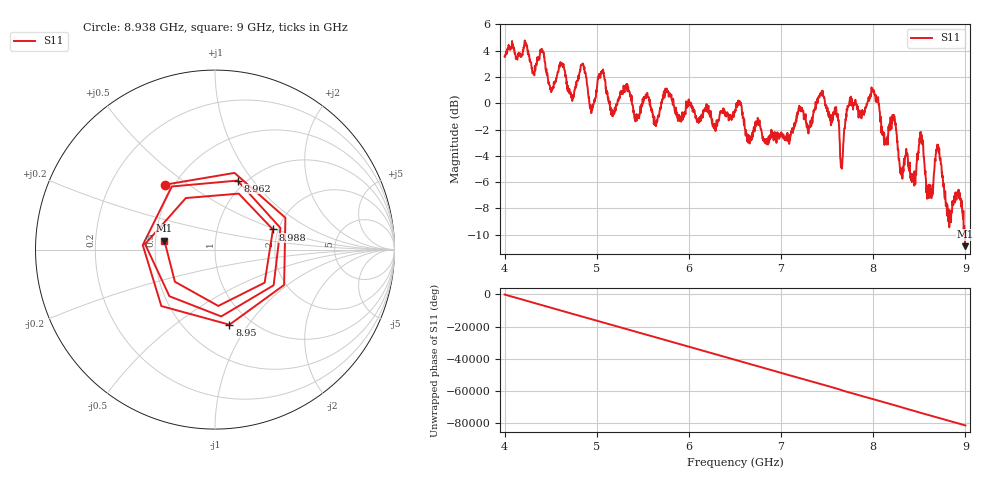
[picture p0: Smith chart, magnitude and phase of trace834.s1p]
! Created with skrf 1.8.0 (http://scikit-rf.org).
# Hz S RI R 50.0
!freq ReS11 ImS11
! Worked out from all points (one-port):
!   1601 points, 4 GHz to 9 GHz, reference 50 ohm
!   lowest |S11| = -10.9 dB at 9 GHz (marker M1), VSWR 1.80, Z = 27.9 + j3.03 ohm
!   |S11| at or under -10 dB: 8.99369 GHz to end of sweep
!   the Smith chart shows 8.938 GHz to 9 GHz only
!   S11 on the Smith chart (normalised r, x): 8.938 GHz: 0.45, +0.41; 8.95 GHz: 0.80, -0.82; 8.962 GHz: 0.92, +0.84; 8.988 GHz: 1.88, +0.48; 9 GHz: 0.56, +0.06
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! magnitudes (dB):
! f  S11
! 4 GHz  3.6
! 4.406 GHz  3.9
! 4.506 GHz  0.9
! 4.625 GHz  3.0
! 4.731 GHz  0.5
! 4.853 GHz  2.9
! 4.944 GHz  -0.4
! 5.05 GHz  2.2
! 5.169 GHz  -1.0
! 5.25 GHz  0.4
! 5.875 GHz  -1.1
! 6.5 GHz  -0.6
! 7.125 GHz  -2.0
! 7.444 GHz  0.9
! 7.659 GHz  -5.0
! 7.75 GHz  0.3
! 8.006 GHz  0.8
! 8.375 GHz  -4.1
! 8.441 GHz  -5.6
! 8.519 GHz  -2.2
! 8.609 GHz  -6.4
! 8.703 GHz  -3.2
! 8.819 GHz  -8.1
! 8.938 GHz  -6.8
! 8.95 GHz  -7.4
! 8.962 GHz  -7.9
! 8.988 GHz  -9.3
! 9 GHz  -10.9
